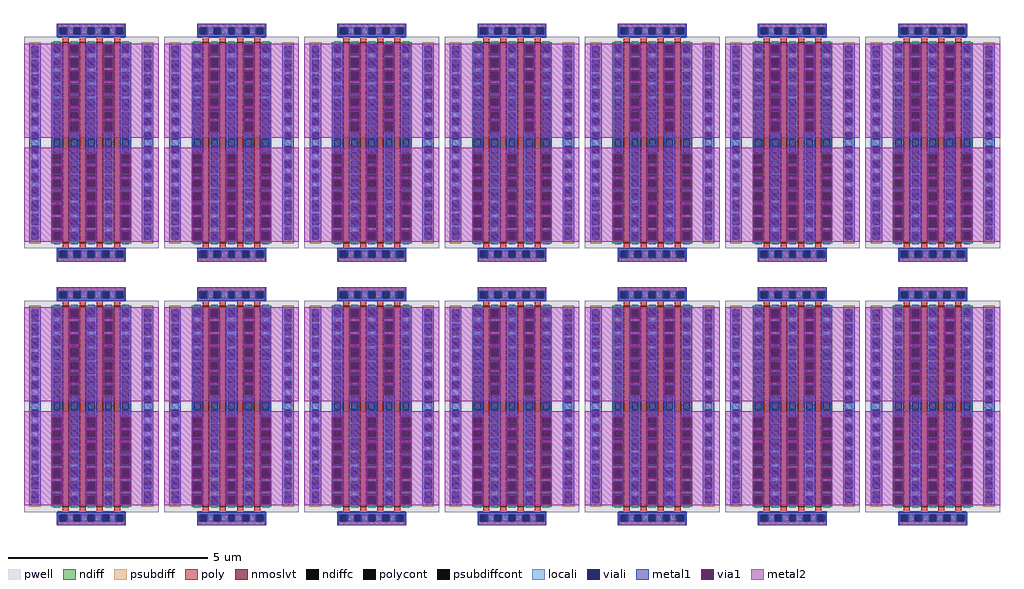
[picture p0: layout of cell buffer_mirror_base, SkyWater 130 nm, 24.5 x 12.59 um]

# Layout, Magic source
magic
tech sky130B
use rf_nfet_01v8_lvt_aM04W5p00L0p15  rf_nfet_01v8_lvt_aM04W5p00L0p15_0
transform 1 0 -21 0 1 -4
box 0 0 338 597
use rf_nfet_01v8_lvt_aM04W5p00L0p15  rf_nfet_01v8_lvt_aM04W5p00L0p15_1
transform 1 0 331 0 1 -4
box 0 0 338 597
use rf_nfet_01v8_lvt_aM04W5p00L0p15  rf_nfet_01v8_lvt_aM04W5p00L0p15_2
transform 1 0 683 0 1 -4
box 0 0 338 597
use rf_nfet_01v8_lvt_aM04W5p00L0p15  rf_nfet_01v8_lvt_aM04W5p00L0p15_3
transform 1 0 1035 0 1 -4
box 0 0 338 597
use rf_nfet_01v8_lvt_aM04W5p00L0p15  rf_nfet_01v8_lvt_aM04W5p00L0p15_4
transform 1 0 1387 0 1 -4
box 0 0 338 597
use rf_nfet_01v8_lvt_aM04W5p00L0p15  rf_nfet_01v8_lvt_aM04W5p00L0p15_5
transform 1 0 -21 0 1 658
box 0 0 338 597
use rf_nfet_01v8_lvt_aM04W5p00L0p15  rf_nfet_01v8_lvt_aM04W5p00L0p15_6
transform 1 0 331 0 1 658
box 0 0 338 597
use rf_nfet_01v8_lvt_aM04W5p00L0p15  rf_nfet_01v8_lvt_aM04W5p00L0p15_7
transform 1 0 1035 0 1 658
box 0 0 338 597
use rf_nfet_01v8_lvt_aM04W5p00L0p15  rf_nfet_01v8_lvt_aM04W5p00L0p15_8
transform 1 0 1387 0 1 658
box 0 0 338 597
use rf_nfet_01v8_lvt_aM04W5p00L0p15  rf_nfet_01v8_lvt_aM04W5p00L0p15_9
transform 1 0 -373 0 1 658
box 0 0 338 597
use rf_nfet_01v8_lvt_aM04W5p00L0p15  rf_nfet_01v8_lvt_aM04W5p00L0p15_10
transform 1 0 683 0 1 658
box 0 0 338 597
use rf_nfet_01v8_lvt_aM04W5p00L0p15  rf_nfet_01v8_lvt_aM04W5p00L0p15_11
transform 1 0 1739 0 1 658
box 0 0 338 597
use rf_nfet_01v8_lvt_aM04W5p00L0p15  rf_nfet_01v8_lvt_aM04W5p00L0p15_12
transform 1 0 1739 0 1 -4
box 0 0 338 597
use rf_nfet_01v8_lvt_aM04W5p00L0p15  rf_nfet_01v8_lvt_aM04W5p00L0p15_13
transform 1 0 -373 0 1 -4
box 0 0 338 597
<< end >>

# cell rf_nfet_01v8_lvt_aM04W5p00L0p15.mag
magic
tech sky130B
magscale 1 2
<< pwell >>
rect 0 66 676 1128
<< nmoslvt >>
rect 194 92 224 1102
rect 280 92 310 1102
rect 366 92 396 1102
rect 452 92 482 1102
<< ndiff >>
rect 138 1090 194 1102
rect 138 1056 149 1090
rect 183 1056 194 1090
rect 138 1022 194 1056
rect 138 988 149 1022
rect 183 988 194 1022
rect 138 954 194 988
rect 138 920 149 954
rect 183 920 194 954
rect 138 886 194 920
rect 138 852 149 886
rect 183 852 194 886
rect 138 818 194 852
rect 138 784 149 818
rect 183 784 194 818
rect 138 750 194 784
rect 138 716 149 750
rect 183 716 194 750
rect 138 682 194 716
rect 138 648 149 682
rect 183 648 194 682
rect 138 614 194 648
rect 138 580 149 614
rect 183 580 194 614
rect 138 546 194 580
rect 138 512 149 546
rect 183 512 194 546
rect 138 478 194 512
rect 138 444 149 478
rect 183 444 194 478
rect 138 410 194 444
rect 138 376 149 410
rect 183 376 194 410
rect 138 342 194 376
rect 138 308 149 342
rect 183 308 194 342
rect 138 274 194 308
rect 138 240 149 274
rect 183 240 194 274
rect 138 206 194 240
rect 138 172 149 206
rect 183 172 194 206
rect 138 138 194 172
rect 138 104 149 138
rect 183 104 194 138
rect 138 92 194 104
rect 224 1090 280 1102
rect 224 1056 235 1090
rect 269 1056 280 1090
rect 224 1022 280 1056
rect 224 988 235 1022
rect 269 988 280 1022
rect 224 954 280 988
rect 224 920 235 954
rect 269 920 280 954
rect 224 886 280 920
rect 224 852 235 886
rect 269 852 280 886
rect 224 818 280 852
rect 224 784 235 818
rect 269 784 280 818
rect 224 750 280 784
rect 224 716 235 750
rect 269 716 280 750
rect 224 682 280 716
rect 224 648 235 682
rect 269 648 280 682
rect 224 614 280 648
rect 224 580 235 614
rect 269 580 280 614
rect 224 546 280 580
rect 224 512 235 546
rect 269 512 280 546
rect 224 478 280 512
rect 224 444 235 478
rect 269 444 280 478
rect 224 410 280 444
rect 224 376 235 410
rect 269 376 280 410
rect 224 342 280 376
rect 224 308 235 342
rect 269 308 280 342
rect 224 274 280 308
rect 224 240 235 274
rect 269 240 280 274
rect 224 206 280 240
rect 224 172 235 206
rect 269 172 280 206
rect 224 138 280 172
rect 224 104 235 138
rect 269 104 280 138
rect 224 92 280 104
rect 310 1090 366 1102
rect 310 1056 321 1090
rect 355 1056 366 1090
rect 310 1022 366 1056
rect 310 988 321 1022
rect 355 988 366 1022
rect 310 954 366 988
rect 310 920 321 954
rect 355 920 366 954
rect 310 886 366 920
rect 310 852 321 886
rect 355 852 366 886
rect 310 818 366 852
rect 310 784 321 818
rect 355 784 366 818
rect 310 750 366 784
rect 310 716 321 750
rect 355 716 366 750
rect 310 682 366 716
rect 310 648 321 682
rect 355 648 366 682
rect 310 614 366 648
rect 310 580 321 614
rect 355 580 366 614
rect 310 546 366 580
rect 310 512 321 546
rect 355 512 366 546
rect 310 478 366 512
rect 310 444 321 478
rect 355 444 366 478
rect 310 410 366 444
rect 310 376 321 410
rect 355 376 366 410
rect 310 342 366 376
rect 310 308 321 342
rect 355 308 366 342
rect 310 274 366 308
rect 310 240 321 274
rect 355 240 366 274
rect 310 206 366 240
rect 310 172 321 206
rect 355 172 366 206
rect 310 138 366 172
rect 310 104 321 138
rect 355 104 366 138
rect 310 92 366 104
rect 396 1090 452 1102
rect 396 1056 407 1090
rect 441 1056 452 1090
rect 396 1022 452 1056
rect 396 988 407 1022
rect 441 988 452 1022
rect 396 954 452 988
rect 396 920 407 954
rect 441 920 452 954
rect 396 886 452 920
rect 396 852 407 886
rect 441 852 452 886
rect 396 818 452 852
rect 396 784 407 818
rect 441 784 452 818
rect 396 750 452 784
rect 396 716 407 750
rect 441 716 452 750
rect 396 682 452 716
rect 396 648 407 682
rect 441 648 452 682
rect 396 614 452 648
rect 396 580 407 614
rect 441 580 452 614
rect 396 546 452 580
rect 396 512 407 546
rect 441 512 452 546
rect 396 478 452 512
rect 396 444 407 478
rect 441 444 452 478
rect 396 410 452 444
rect 396 376 407 410
rect 441 376 452 410
rect 396 342 452 376
rect 396 308 407 342
rect 441 308 452 342
rect 396 274 452 308
rect 396 240 407 274
rect 441 240 452 274
rect 396 206 452 240
rect 396 172 407 206
rect 441 172 452 206
rect 396 138 452 172
rect 396 104 407 138
rect 441 104 452 138
rect 396 92 452 104
rect 482 1090 538 1102
rect 482 1056 493 1090
rect 527 1056 538 1090
rect 482 1022 538 1056
rect 482 988 493 1022
rect 527 988 538 1022
rect 482 954 538 988
rect 482 920 493 954
rect 527 920 538 954
rect 482 886 538 920
rect 482 852 493 886
rect 527 852 538 886
rect 482 818 538 852
rect 482 784 493 818
rect 527 784 538 818
rect 482 750 538 784
rect 482 716 493 750
rect 527 716 538 750
rect 482 682 538 716
rect 482 648 493 682
rect 527 648 538 682
rect 482 614 538 648
rect 482 580 493 614
rect 527 580 538 614
rect 482 546 538 580
rect 482 512 493 546
rect 527 512 538 546
rect 482 478 538 512
rect 482 444 493 478
rect 527 444 538 478
rect 482 410 538 444
rect 482 376 493 410
rect 527 376 538 410
rect 482 342 538 376
rect 482 308 493 342
rect 527 308 538 342
rect 482 274 538 308
rect 482 240 493 274
rect 527 240 538 274
rect 482 206 538 240
rect 482 172 493 206
rect 527 172 538 206
rect 482 138 538 172
rect 482 104 493 138
rect 527 104 538 138
rect 482 92 538 104
<< ndiffc >>
rect 149 1056 183 1090
rect 149 988 183 1022
rect 149 920 183 954
rect 149 852 183 886
rect 149 784 183 818
rect 149 716 183 750
rect 149 648 183 682
rect 149 580 183 614
rect 149 512 183 546
rect 149 444 183 478
rect 149 376 183 410
rect 149 308 183 342
rect 149 240 183 274
rect 149 172 183 206
rect 149 104 183 138
rect 235 1056 269 1090
rect 235 988 269 1022
rect 235 920 269 954
rect 235 852 269 886
rect 235 784 269 818
rect 235 716 269 750
rect 235 648 269 682
rect 235 580 269 614
rect 235 512 269 546
rect 235 444 269 478
rect 235 376 269 410
rect 235 308 269 342
rect 235 240 269 274
rect 235 172 269 206
rect 235 104 269 138
rect 321 1056 355 1090
rect 321 988 355 1022
rect 321 920 355 954
rect 321 852 355 886
rect 321 784 355 818
rect 321 716 355 750
rect 321 648 355 682
rect 321 580 355 614
rect 321 512 355 546
rect 321 444 355 478
rect 321 376 355 410
rect 321 308 355 342
rect 321 240 355 274
rect 321 172 355 206
rect 321 104 355 138
rect 407 1056 441 1090
rect 407 988 441 1022
rect 407 920 441 954
rect 407 852 441 886
rect 407 784 441 818
rect 407 716 441 750
rect 407 648 441 682
rect 407 580 441 614
rect 407 512 441 546
rect 407 444 441 478
rect 407 376 441 410
rect 407 308 441 342
rect 407 240 441 274
rect 407 172 441 206
rect 407 104 441 138
rect 493 1056 527 1090
rect 493 988 527 1022
rect 493 920 527 954
rect 493 852 527 886
rect 493 784 527 818
rect 493 716 527 750
rect 493 648 527 682
rect 493 580 527 614
rect 493 512 527 546
rect 493 444 527 478
rect 493 376 527 410
rect 493 308 527 342
rect 493 240 527 274
rect 493 172 527 206
rect 493 104 527 138
<< psubdiff >>
rect 26 1056 84 1102
rect 26 1022 38 1056
rect 72 1022 84 1056
rect 26 988 84 1022
rect 26 954 38 988
rect 72 954 84 988
rect 26 920 84 954
rect 26 886 38 920
rect 72 886 84 920
rect 26 852 84 886
rect 26 818 38 852
rect 72 818 84 852
rect 26 784 84 818
rect 26 750 38 784
rect 72 750 84 784
rect 26 716 84 750
rect 26 682 38 716
rect 72 682 84 716
rect 26 648 84 682
rect 26 614 38 648
rect 72 614 84 648
rect 26 580 84 614
rect 26 546 38 580
rect 72 546 84 580
rect 26 512 84 546
rect 26 478 38 512
rect 72 478 84 512
rect 26 444 84 478
rect 26 410 38 444
rect 72 410 84 444
rect 26 376 84 410
rect 26 342 38 376
rect 72 342 84 376
rect 26 308 84 342
rect 26 274 38 308
rect 72 274 84 308
rect 26 240 84 274
rect 26 206 38 240
rect 72 206 84 240
rect 26 172 84 206
rect 26 138 38 172
rect 72 138 84 172
rect 26 92 84 138
rect 592 1056 650 1102
rect 592 1022 604 1056
rect 638 1022 650 1056
rect 592 988 650 1022
rect 592 954 604 988
rect 638 954 650 988
rect 592 920 650 954
rect 592 886 604 920
rect 638 886 650 920
rect 592 852 650 886
rect 592 818 604 852
rect 638 818 650 852
rect 592 784 650 818
rect 592 750 604 784
rect 638 750 650 784
rect 592 716 650 750
rect 592 682 604 716
rect 638 682 650 716
rect 592 648 650 682
rect 592 614 604 648
rect 638 614 650 648
rect 592 580 650 614
rect 592 546 604 580
rect 638 546 650 580
rect 592 512 650 546
rect 592 478 604 512
rect 638 478 650 512
rect 592 444 650 478
rect 592 410 604 444
rect 638 410 650 444
rect 592 376 650 410
rect 592 342 604 376
rect 638 342 650 376
rect 592 308 650 342
rect 592 274 604 308
rect 638 274 650 308
rect 592 240 650 274
rect 592 206 604 240
rect 638 206 650 240
rect 592 172 650 206
rect 592 138 604 172
rect 638 138 650 172
rect 592 92 650 138
<< psubdiffcont >>
rect 38 1022 72 1056
rect 38 954 72 988
rect 38 886 72 920
rect 38 818 72 852
rect 38 750 72 784
rect 38 682 72 716
rect 38 614 72 648
rect 38 546 72 580
rect 38 478 72 512
rect 38 410 72 444
rect 38 342 72 376
rect 38 274 72 308
rect 38 206 72 240
rect 38 138 72 172
rect 604 1022 638 1056
rect 604 954 638 988
rect 604 886 638 920
rect 604 818 638 852
rect 604 750 638 784
rect 604 682 638 716
rect 604 614 638 648
rect 604 546 638 580
rect 604 478 638 512
rect 604 410 638 444
rect 604 342 638 376
rect 604 274 638 308
rect 604 206 638 240
rect 604 138 638 172
<< poly >>
rect 169 1174 507 1194
rect 169 1140 185 1174
rect 219 1140 253 1174
rect 287 1140 321 1174
rect 355 1140 389 1174
rect 423 1140 457 1174
rect 491 1140 507 1174
rect 169 1124 507 1140
rect 194 1102 224 1124
rect 280 1102 310 1124
rect 366 1102 396 1124
rect 452 1102 482 1124
rect 194 70 224 92
rect 280 70 310 92
rect 366 70 396 92
rect 452 70 482 92
rect 169 54 507 70
rect 169 20 185 54
rect 219 20 253 54
rect 287 20 321 54
rect 355 20 389 54
rect 423 20 457 54
rect 491 20 507 54
rect 169 0 507 20
<< polycont >>
rect 185 1140 219 1174
rect 253 1140 287 1174
rect 321 1140 355 1174
rect 389 1140 423 1174
rect 457 1140 491 1174
rect 185 20 219 54
rect 253 20 287 54
rect 321 20 355 54
rect 389 20 423 54
rect 457 20 491 54
<< locali >>
rect 169 1140 177 1174
rect 219 1140 249 1174
rect 287 1140 321 1174
rect 355 1140 389 1174
rect 427 1140 457 1174
rect 499 1140 507 1174
rect 149 1090 183 1106
rect 38 1010 72 1022
rect 38 938 72 954
rect 38 866 72 886
rect 38 794 72 818
rect 38 722 72 750
rect 38 650 72 682
rect 38 580 72 614
rect 38 512 72 544
rect 38 444 72 472
rect 38 376 72 400
rect 38 308 72 328
rect 38 240 72 256
rect 38 172 72 184
rect 149 1022 183 1048
rect 149 954 183 976
rect 149 886 183 904
rect 149 818 183 832
rect 149 750 183 760
rect 149 682 183 688
rect 149 614 183 616
rect 149 578 183 580
rect 149 506 183 512
rect 149 434 183 444
rect 149 362 183 376
rect 149 290 183 308
rect 149 218 183 240
rect 149 146 183 172
rect 149 88 183 104
rect 235 1090 269 1106
rect 235 1022 269 1048
rect 235 954 269 976
rect 235 886 269 904
rect 235 818 269 832
rect 235 750 269 760
rect 235 682 269 688
rect 235 614 269 616
rect 235 578 269 580
rect 235 506 269 512
rect 235 434 269 444
rect 235 362 269 376
rect 235 290 269 308
rect 235 218 269 240
rect 235 146 269 172
rect 235 88 269 104
rect 321 1090 355 1106
rect 321 1022 355 1048
rect 321 954 355 976
rect 321 886 355 904
rect 321 818 355 832
rect 321 750 355 760
rect 321 682 355 688
rect 321 614 355 616
rect 321 578 355 580
rect 321 506 355 512
rect 321 434 355 444
rect 321 362 355 376
rect 321 290 355 308
rect 321 218 355 240
rect 321 146 355 172
rect 321 88 355 104
rect 407 1090 441 1106
rect 407 1022 441 1048
rect 407 954 441 976
rect 407 886 441 904
rect 407 818 441 832
rect 407 750 441 760
rect 407 682 441 688
rect 407 614 441 616
rect 407 578 441 580
rect 407 506 441 512
rect 407 434 441 444
rect 407 362 441 376
rect 407 290 441 308
rect 407 218 441 240
rect 407 146 441 172
rect 407 88 441 104
rect 493 1090 527 1106
rect 493 1022 527 1048
rect 493 954 527 976
rect 493 886 527 904
rect 493 818 527 832
rect 493 750 527 760
rect 493 682 527 688
rect 493 614 527 616
rect 493 578 527 580
rect 493 506 527 512
rect 493 434 527 444
rect 493 362 527 376
rect 493 290 527 308
rect 493 218 527 240
rect 493 146 527 172
rect 604 1010 638 1022
rect 604 938 638 954
rect 604 866 638 886
rect 604 794 638 818
rect 604 722 638 750
rect 604 650 638 682
rect 604 580 638 614
rect 604 512 638 544
rect 604 444 638 472
rect 604 376 638 400
rect 604 308 638 328
rect 604 240 638 256
rect 604 172 638 184
rect 493 88 527 104
rect 169 20 177 54
rect 219 20 249 54
rect 287 20 321 54
rect 355 20 389 54
rect 427 20 457 54
rect 499 20 507 54
<< viali >>
rect 177 1140 185 1174
rect 185 1140 211 1174
rect 249 1140 253 1174
rect 253 1140 283 1174
rect 321 1140 355 1174
rect 393 1140 423 1174
rect 423 1140 427 1174
rect 465 1140 491 1174
rect 491 1140 499 1174
rect 38 1056 72 1082
rect 38 1048 72 1056
rect 38 988 72 1010
rect 38 976 72 988
rect 38 920 72 938
rect 38 904 72 920
rect 38 852 72 866
rect 38 832 72 852
rect 38 784 72 794
rect 38 760 72 784
rect 38 716 72 722
rect 38 688 72 716
rect 38 648 72 650
rect 38 616 72 648
rect 38 546 72 578
rect 38 544 72 546
rect 38 478 72 506
rect 38 472 72 478
rect 38 410 72 434
rect 38 400 72 410
rect 38 342 72 362
rect 38 328 72 342
rect 38 274 72 290
rect 38 256 72 274
rect 38 206 72 218
rect 38 184 72 206
rect 38 138 72 146
rect 38 112 72 138
rect 149 1056 183 1082
rect 149 1048 183 1056
rect 149 988 183 1010
rect 149 976 183 988
rect 149 920 183 938
rect 149 904 183 920
rect 149 852 183 866
rect 149 832 183 852
rect 149 784 183 794
rect 149 760 183 784
rect 149 716 183 722
rect 149 688 183 716
rect 149 648 183 650
rect 149 616 183 648
rect 149 546 183 578
rect 149 544 183 546
rect 149 478 183 506
rect 149 472 183 478
rect 149 410 183 434
rect 149 400 183 410
rect 149 342 183 362
rect 149 328 183 342
rect 149 274 183 290
rect 149 256 183 274
rect 149 206 183 218
rect 149 184 183 206
rect 149 138 183 146
rect 149 112 183 138
rect 235 1056 269 1082
rect 235 1048 269 1056
rect 235 988 269 1010
rect 235 976 269 988
rect 235 920 269 938
rect 235 904 269 920
rect 235 852 269 866
rect 235 832 269 852
rect 235 784 269 794
rect 235 760 269 784
rect 235 716 269 722
rect 235 688 269 716
rect 235 648 269 650
rect 235 616 269 648
rect 235 546 269 578
rect 235 544 269 546
rect 235 478 269 506
rect 235 472 269 478
rect 235 410 269 434
rect 235 400 269 410
rect 235 342 269 362
rect 235 328 269 342
rect 235 274 269 290
rect 235 256 269 274
rect 235 206 269 218
rect 235 184 269 206
rect 235 138 269 146
rect 235 112 269 138
rect 321 1056 355 1082
rect 321 1048 355 1056
rect 321 988 355 1010
rect 321 976 355 988
rect 321 920 355 938
rect 321 904 355 920
rect 321 852 355 866
rect 321 832 355 852
rect 321 784 355 794
rect 321 760 355 784
rect 321 716 355 722
rect 321 688 355 716
rect 321 648 355 650
rect 321 616 355 648
rect 321 546 355 578
rect 321 544 355 546
rect 321 478 355 506
rect 321 472 355 478
rect 321 410 355 434
rect 321 400 355 410
rect 321 342 355 362
rect 321 328 355 342
rect 321 274 355 290
rect 321 256 355 274
rect 321 206 355 218
rect 321 184 355 206
rect 321 138 355 146
rect 321 112 355 138
rect 407 1056 441 1082
rect 407 1048 441 1056
rect 407 988 441 1010
rect 407 976 441 988
rect 407 920 441 938
rect 407 904 441 920
rect 407 852 441 866
rect 407 832 441 852
rect 407 784 441 794
rect 407 760 441 784
rect 407 716 441 722
rect 407 688 441 716
rect 407 648 441 650
rect 407 616 441 648
rect 407 546 441 578
rect 407 544 441 546
rect 407 478 441 506
rect 407 472 441 478
rect 407 410 441 434
rect 407 400 441 410
rect 407 342 441 362
rect 407 328 441 342
rect 407 274 441 290
rect 407 256 441 274
rect 407 206 441 218
rect 407 184 441 206
rect 407 138 441 146
rect 407 112 441 138
rect 493 1056 527 1082
rect 493 1048 527 1056
rect 493 988 527 1010
rect 493 976 527 988
rect 493 920 527 938
rect 493 904 527 920
rect 493 852 527 866
rect 493 832 527 852
rect 493 784 527 794
rect 493 760 527 784
rect 493 716 527 722
rect 493 688 527 716
rect 493 648 527 650
rect 493 616 527 648
rect 493 546 527 578
rect 493 544 527 546
rect 493 478 527 506
rect 493 472 527 478
rect 493 410 527 434
rect 493 400 527 410
rect 493 342 527 362
rect 493 328 527 342
rect 493 274 527 290
rect 493 256 527 274
rect 493 206 527 218
rect 493 184 527 206
rect 493 138 527 146
rect 493 112 527 138
rect 604 1056 638 1082
rect 604 1048 638 1056
rect 604 988 638 1010
rect 604 976 638 988
rect 604 920 638 938
rect 604 904 638 920
rect 604 852 638 866
rect 604 832 638 852
rect 604 784 638 794
rect 604 760 638 784
rect 604 716 638 722
rect 604 688 638 716
rect 604 648 638 650
rect 604 616 638 648
rect 604 546 638 578
rect 604 544 638 546
rect 604 478 638 506
rect 604 472 638 478
rect 604 410 638 434
rect 604 400 638 410
rect 604 342 638 362
rect 604 328 638 342
rect 604 274 638 290
rect 604 256 638 274
rect 604 206 638 218
rect 604 184 638 206
rect 604 138 638 146
rect 604 112 638 138
rect 177 20 185 54
rect 185 20 211 54
rect 249 20 253 54
rect 253 20 283 54
rect 321 20 355 54
rect 393 20 423 54
rect 423 20 427 54
rect 465 20 491 54
rect 491 20 499 54
<< metal1 >>
rect 165 1174 511 1194
rect 165 1140 177 1174
rect 211 1140 249 1174
rect 283 1140 321 1174
rect 355 1140 393 1174
rect 427 1140 465 1174
rect 499 1140 511 1174
rect 165 1128 511 1140
rect 26 1082 84 1094
rect 26 1048 38 1082
rect 72 1048 84 1082
rect 26 1010 84 1048
rect 26 976 38 1010
rect 72 976 84 1010
rect 26 938 84 976
rect 26 904 38 938
rect 72 904 84 938
rect 26 866 84 904
rect 26 832 38 866
rect 72 832 84 866
rect 26 794 84 832
rect 26 760 38 794
rect 72 760 84 794
rect 26 722 84 760
rect 26 688 38 722
rect 72 688 84 722
rect 26 650 84 688
rect 26 616 38 650
rect 72 616 84 650
rect 26 578 84 616
rect 26 544 38 578
rect 72 544 84 578
rect 26 506 84 544
rect 26 472 38 506
rect 72 472 84 506
rect 26 434 84 472
rect 26 400 38 434
rect 72 400 84 434
rect 26 362 84 400
rect 26 328 38 362
rect 72 328 84 362
rect 26 290 84 328
rect 26 256 38 290
rect 72 256 84 290
rect 26 218 84 256
rect 26 184 38 218
rect 72 184 84 218
rect 26 146 84 184
rect 26 112 38 146
rect 72 112 84 146
rect 26 100 84 112
rect 140 1082 192 1094
rect 140 1048 149 1082
rect 183 1048 192 1082
rect 140 1010 192 1048
rect 140 976 149 1010
rect 183 976 192 1010
rect 140 938 192 976
rect 140 904 149 938
rect 183 904 192 938
rect 140 866 192 904
rect 140 832 149 866
rect 183 832 192 866
rect 140 794 192 832
rect 140 760 149 794
rect 183 760 192 794
rect 140 722 192 760
rect 140 688 149 722
rect 183 688 192 722
rect 140 650 192 688
rect 140 616 149 650
rect 183 616 192 650
rect 140 578 192 616
rect 140 544 149 578
rect 183 544 192 578
rect 140 542 192 544
rect 140 478 149 490
rect 183 478 192 490
rect 140 414 149 426
rect 183 414 192 426
rect 140 350 149 362
rect 183 350 192 362
rect 140 290 192 298
rect 140 286 149 290
rect 183 286 192 290
rect 140 222 192 234
rect 140 158 192 170
rect 140 100 192 106
rect 226 1088 278 1094
rect 226 1024 278 1036
rect 226 960 278 972
rect 226 904 235 908
rect 269 904 278 908
rect 226 896 278 904
rect 226 832 235 844
rect 269 832 278 844
rect 226 768 235 780
rect 269 768 278 780
rect 226 704 235 716
rect 269 704 278 716
rect 226 650 278 652
rect 226 616 235 650
rect 269 616 278 650
rect 226 578 278 616
rect 226 544 235 578
rect 269 544 278 578
rect 226 506 278 544
rect 226 472 235 506
rect 269 472 278 506
rect 226 434 278 472
rect 226 400 235 434
rect 269 400 278 434
rect 226 362 278 400
rect 226 328 235 362
rect 269 328 278 362
rect 226 290 278 328
rect 226 256 235 290
rect 269 256 278 290
rect 226 218 278 256
rect 226 184 235 218
rect 269 184 278 218
rect 226 146 278 184
rect 226 112 235 146
rect 269 112 278 146
rect 226 100 278 112
rect 312 1082 364 1094
rect 312 1048 321 1082
rect 355 1048 364 1082
rect 312 1010 364 1048
rect 312 976 321 1010
rect 355 976 364 1010
rect 312 938 364 976
rect 312 904 321 938
rect 355 904 364 938
rect 312 866 364 904
rect 312 832 321 866
rect 355 832 364 866
rect 312 794 364 832
rect 312 760 321 794
rect 355 760 364 794
rect 312 722 364 760
rect 312 688 321 722
rect 355 688 364 722
rect 312 650 364 688
rect 312 616 321 650
rect 355 616 364 650
rect 312 578 364 616
rect 312 544 321 578
rect 355 544 364 578
rect 312 542 364 544
rect 312 478 321 490
rect 355 478 364 490
rect 312 414 321 426
rect 355 414 364 426
rect 312 350 321 362
rect 355 350 364 362
rect 312 290 364 298
rect 312 286 321 290
rect 355 286 364 290
rect 312 222 364 234
rect 312 158 364 170
rect 312 100 364 106
rect 398 1088 450 1094
rect 398 1024 450 1036
rect 398 960 450 972
rect 398 904 407 908
rect 441 904 450 908
rect 398 896 450 904
rect 398 832 407 844
rect 441 832 450 844
rect 398 768 407 780
rect 441 768 450 780
rect 398 704 407 716
rect 441 704 450 716
rect 398 650 450 652
rect 398 616 407 650
rect 441 616 450 650
rect 398 578 450 616
rect 398 544 407 578
rect 441 544 450 578
rect 398 506 450 544
rect 398 472 407 506
rect 441 472 450 506
rect 398 434 450 472
rect 398 400 407 434
rect 441 400 450 434
rect 398 362 450 400
rect 398 328 407 362
rect 441 328 450 362
rect 398 290 450 328
rect 398 256 407 290
rect 441 256 450 290
rect 398 218 450 256
rect 398 184 407 218
rect 441 184 450 218
rect 398 146 450 184
rect 398 112 407 146
rect 441 112 450 146
rect 398 100 450 112
rect 484 1082 536 1094
rect 484 1048 493 1082
rect 527 1048 536 1082
rect 484 1010 536 1048
rect 484 976 493 1010
rect 527 976 536 1010
rect 484 938 536 976
rect 484 904 493 938
rect 527 904 536 938
rect 484 866 536 904
rect 484 832 493 866
rect 527 832 536 866
rect 484 794 536 832
rect 484 760 493 794
rect 527 760 536 794
rect 484 722 536 760
rect 484 688 493 722
rect 527 688 536 722
rect 484 650 536 688
rect 484 616 493 650
rect 527 616 536 650
rect 484 578 536 616
rect 484 544 493 578
rect 527 544 536 578
rect 484 542 536 544
rect 484 478 493 490
rect 527 478 536 490
rect 484 414 493 426
rect 527 414 536 426
rect 484 350 493 362
rect 527 350 536 362
rect 484 290 536 298
rect 484 286 493 290
rect 527 286 536 290
rect 484 222 536 234
rect 484 158 536 170
rect 484 100 536 106
rect 592 1082 650 1094
rect 592 1048 604 1082
rect 638 1048 650 1082
rect 592 1010 650 1048
rect 592 976 604 1010
rect 638 976 650 1010
rect 592 938 650 976
rect 592 904 604 938
rect 638 904 650 938
rect 592 866 650 904
rect 592 832 604 866
rect 638 832 650 866
rect 592 794 650 832
rect 592 760 604 794
rect 638 760 650 794
rect 592 722 650 760
rect 592 688 604 722
rect 638 688 650 722
rect 592 650 650 688
rect 592 616 604 650
rect 638 616 650 650
rect 592 578 650 616
rect 592 544 604 578
rect 638 544 650 578
rect 592 506 650 544
rect 592 472 604 506
rect 638 472 650 506
rect 592 434 650 472
rect 592 400 604 434
rect 638 400 650 434
rect 592 362 650 400
rect 592 328 604 362
rect 638 328 650 362
rect 592 290 650 328
rect 592 256 604 290
rect 638 256 650 290
rect 592 218 650 256
rect 592 184 604 218
rect 638 184 650 218
rect 592 146 650 184
rect 592 112 604 146
rect 638 112 650 146
rect 592 100 650 112
rect 165 54 511 66
rect 165 20 177 54
rect 211 20 249 54
rect 283 20 321 54
rect 355 20 393 54
rect 427 20 465 54
rect 499 20 511 54
rect 165 0 511 20
<< via1 >>
rect 140 506 192 542
rect 140 490 149 506
rect 149 490 183 506
rect 183 490 192 506
rect 140 472 149 478
rect 149 472 183 478
rect 183 472 192 478
rect 140 434 192 472
rect 140 426 149 434
rect 149 426 183 434
rect 183 426 192 434
rect 140 400 149 414
rect 149 400 183 414
rect 183 400 192 414
rect 140 362 192 400
rect 140 328 149 350
rect 149 328 183 350
rect 183 328 192 350
rect 140 298 192 328
rect 140 256 149 286
rect 149 256 183 286
rect 183 256 192 286
rect 140 234 192 256
rect 140 218 192 222
rect 140 184 149 218
rect 149 184 183 218
rect 183 184 192 218
rect 140 170 192 184
rect 140 146 192 158
rect 140 112 149 146
rect 149 112 183 146
rect 183 112 192 146
rect 140 106 192 112
rect 226 1082 278 1088
rect 226 1048 235 1082
rect 235 1048 269 1082
rect 269 1048 278 1082
rect 226 1036 278 1048
rect 226 1010 278 1024
rect 226 976 235 1010
rect 235 976 269 1010
rect 269 976 278 1010
rect 226 972 278 976
rect 226 938 278 960
rect 226 908 235 938
rect 235 908 269 938
rect 269 908 278 938
rect 226 866 278 896
rect 226 844 235 866
rect 235 844 269 866
rect 269 844 278 866
rect 226 794 278 832
rect 226 780 235 794
rect 235 780 269 794
rect 269 780 278 794
rect 226 760 235 768
rect 235 760 269 768
rect 269 760 278 768
rect 226 722 278 760
rect 226 716 235 722
rect 235 716 269 722
rect 269 716 278 722
rect 226 688 235 704
rect 235 688 269 704
rect 269 688 278 704
rect 226 652 278 688
rect 312 506 364 542
rect 312 490 321 506
rect 321 490 355 506
rect 355 490 364 506
rect 312 472 321 478
rect 321 472 355 478
rect 355 472 364 478
rect 312 434 364 472
rect 312 426 321 434
rect 321 426 355 434
rect 355 426 364 434
rect 312 400 321 414
rect 321 400 355 414
rect 355 400 364 414
rect 312 362 364 400
rect 312 328 321 350
rect 321 328 355 350
rect 355 328 364 350
rect 312 298 364 328
rect 312 256 321 286
rect 321 256 355 286
rect 355 256 364 286
rect 312 234 364 256
rect 312 218 364 222
rect 312 184 321 218
rect 321 184 355 218
rect 355 184 364 218
rect 312 170 364 184
rect 312 146 364 158
rect 312 112 321 146
rect 321 112 355 146
rect 355 112 364 146
rect 312 106 364 112
rect 398 1082 450 1088
rect 398 1048 407 1082
rect 407 1048 441 1082
rect 441 1048 450 1082
rect 398 1036 450 1048
rect 398 1010 450 1024
rect 398 976 407 1010
rect 407 976 441 1010
rect 441 976 450 1010
rect 398 972 450 976
rect 398 938 450 960
rect 398 908 407 938
rect 407 908 441 938
rect 441 908 450 938
rect 398 866 450 896
rect 398 844 407 866
rect 407 844 441 866
rect 441 844 450 866
rect 398 794 450 832
rect 398 780 407 794
rect 407 780 441 794
rect 441 780 450 794
rect 398 760 407 768
rect 407 760 441 768
rect 441 760 450 768
rect 398 722 450 760
rect 398 716 407 722
rect 407 716 441 722
rect 441 716 450 722
rect 398 688 407 704
rect 407 688 441 704
rect 441 688 450 704
rect 398 652 450 688
rect 484 506 536 542
rect 484 490 493 506
rect 493 490 527 506
rect 527 490 536 506
rect 484 472 493 478
rect 493 472 527 478
rect 527 472 536 478
rect 484 434 536 472
rect 484 426 493 434
rect 493 426 527 434
rect 527 426 536 434
rect 484 400 493 414
rect 493 400 527 414
rect 527 400 536 414
rect 484 362 536 400
rect 484 328 493 350
rect 493 328 527 350
rect 527 328 536 350
rect 484 298 536 328
rect 484 256 493 286
rect 493 256 527 286
rect 527 256 536 286
rect 484 234 536 256
rect 484 218 536 222
rect 484 184 493 218
rect 493 184 527 218
rect 527 184 536 218
rect 484 170 536 184
rect 484 146 536 158
rect 484 112 493 146
rect 493 112 527 146
rect 527 112 536 146
rect 484 106 536 112
<< metal2 >>
rect 0 1088 676 1094
rect 0 1036 226 1088
rect 278 1036 398 1088
rect 450 1036 676 1088
rect 0 1024 676 1036
rect 0 972 226 1024
rect 278 972 398 1024
rect 450 972 676 1024
rect 0 960 676 972
rect 0 908 226 960
rect 278 908 398 960
rect 450 908 676 960
rect 0 896 676 908
rect 0 844 226 896
rect 278 844 398 896
rect 450 844 676 896
rect 0 832 676 844
rect 0 780 226 832
rect 278 780 398 832
rect 450 780 676 832
rect 0 768 676 780
rect 0 716 226 768
rect 278 716 398 768
rect 450 716 676 768
rect 0 704 676 716
rect 0 652 226 704
rect 278 652 398 704
rect 450 652 676 704
rect 0 622 676 652
rect 0 542 676 572
rect 0 490 140 542
rect 192 490 312 542
rect 364 490 484 542
rect 536 490 676 542
rect 0 478 676 490
rect 0 426 140 478
rect 192 426 312 478
rect 364 426 484 478
rect 536 426 676 478
rect 0 414 676 426
rect 0 362 140 414
rect 192 362 312 414
rect 364 362 484 414
rect 536 362 676 414
rect 0 350 676 362
rect 0 298 140 350
rect 192 298 312 350
rect 364 298 484 350
rect 536 298 676 350
rect 0 286 676 298
rect 0 234 140 286
rect 192 234 312 286
rect 364 234 484 286
rect 536 234 676 286
rect 0 222 676 234
rect 0 170 140 222
rect 192 170 312 222
rect 364 170 484 222
rect 536 170 676 222
rect 0 158 676 170
rect 0 106 140 158
rect 192 106 312 158
rect 364 106 484 158
rect 536 106 676 158
rect 0 100 676 106
<< labels >>
flabel comment s 252 597 252 597 0 FreeSans 300 0 0 0 D
flabel comment s 166 597 166 597 0 FreeSans 300 0 0 0 S
flabel comment s 424 597 424 597 0 FreeSans 300 0 0 0 S
flabel comment s 338 597 338 597 0 FreeSans 300 0 0 0 S
flabel comment s 252 597 252 597 0 FreeSans 300 0 0 0 S
flabel comment s 166 597 166 597 0 FreeSans 300 0 0 0 S
flabel comment s 510 597 510 597 0 FreeSans 300 0 0 0 S
flabel comment s 424 597 424 597 0 FreeSans 300 0 0 0 D
flabel comment s 338 597 338 597 0 FreeSans 300 0 0 0 S
flabel metal1 s 299 1145 381 1170 0 FreeSans 300 0 0 0 GATE
port 2 nsew
flabel metal1 s 298 24 380 49 0 FreeSans 300 0 0 0 GATE
port 2 nsew
flabel metal1 s 53 681 53 681 7 FreeSans 300 90 0 0 SUBSTRATE
port 4 nsew
flabel metal1 s 615 694 615 694 7 FreeSans 300 90 0 0 SUBSTRATE
port 4 nsew
flabel metal2 s 4 817 22 887 0 FreeSans 300 90 0 0 DRAIN
port 1 nsew
flabel metal2 s 3 312 23 376 0 FreeSans 300 90 0 0 SOURCE
port 3 nsew
<< properties >>
string GDS_END 6132072
string GDS_FILE $PDKPATH/libs.ref/sky130_fd_pr/gds/sky130_fd_pr.gds
string GDS_START 6110110
<< end >>
